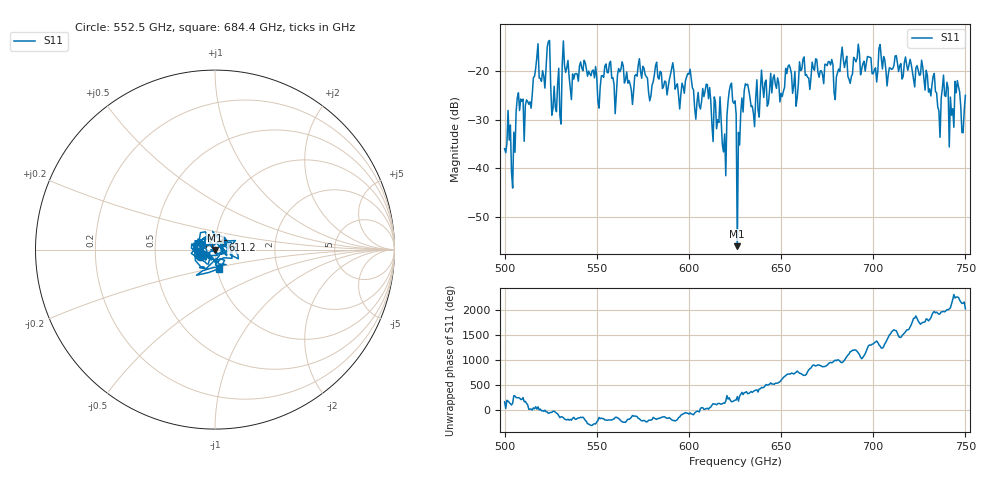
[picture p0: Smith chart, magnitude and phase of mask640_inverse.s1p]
!Created with skrf (http://scikit-rf.org).
# GHz S MA R 50.0
!freq magS11 angS11
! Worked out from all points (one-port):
!   401 points, 500 GHz to 750 GHz, reference 50 ohm
!   lowest |S11| = -56.1 dB at 626.2 GHz (marker M1), VSWR 1.00, Z = 50 - j0.157 ohm
!   |S11| at or under -10 dB: start of sweep to end of sweep
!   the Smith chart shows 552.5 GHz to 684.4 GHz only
!   S11 on the Smith chart (normalised r, x): 552.5 GHz: 0.85, -0.06; 611.2 GHz: 1.08, +0.11; 684.4 GHz: 1.03, -0.22
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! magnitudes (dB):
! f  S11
! 500 GHz  -36.0
! 505 GHz  -32.6
! 507.5 GHz  -24.5
! 511.9 GHz  -26.0
! 516.9 GHz  -19.4
! 523.8 GHz  -13.9
! 526.9 GHz  -23.1
! 531.2 GHz  -18.7
! 533.1 GHz  -20.3
! 552.5 GHz  -21.0
! 562.5 GHz  -20.2
! 593.8 GHz  -22.6
! 611.2 GHz  -23.4
! 618.8 GHz  -36.7
! 623.1 GHz  -22.5
! 625 GHz  -26.1
! 626.2 GHz  -56.1
! 631.2 GHz  -22.9
! 635 GHz  -28.8
! 656.2 GHz  -24.6
! 684.4 GHz  -19.3
! 687.5 GHz  -22.6
! 718.8 GHz  -19.9
! 735.6 GHz  -28.2
! 739.4 GHz  -25.3
! 742.5 GHz  -29.1
! 745.6 GHz  -22.0
! 750 GHz  -25.0
